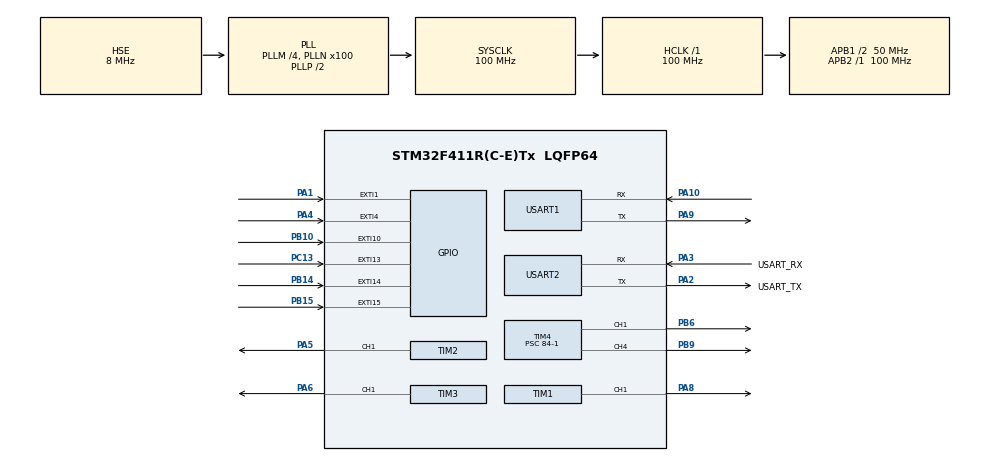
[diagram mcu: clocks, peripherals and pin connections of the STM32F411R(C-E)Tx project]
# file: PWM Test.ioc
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Mcu.Family=STM32F4
Mcu.Name=STM32F411R(C-E)Tx
Mcu.Package=LQFP64
NVIC.EXTI15_10_IRQn=true\:0\:0\:false\:true\:true\:3\:true\:true
NVIC.PriorityGroup=NVIC_PRIORITYGROUP_0
NVIC.TIM1_UP_TIM10_IRQn=true\:0\:0\:false\:true\:true\:2\:true\:true
NVIC.USART1_IRQn=true\:0\:0\:false\:true\:true\:1\:true\:true
PA1.Signal=GPXTI1
PA10.Mode=Asynchronous
PA10.Signal=USART1_RX
PA13.GPIO_Label=TMS
PA13.Mode=Serial_Wire
PA13.Signal=SYS_JTMS-SWDIO
PA14.GPIO_Label=TCK
PA14.Mode=Serial_Wire
PA14.Signal=SYS_JTCK-SWCLK
PA2.GPIO_Label=USART_TX
PA2.Mode=Asynchronous
PA2.Signal=USART2_TX
PA3.GPIO_Label=USART_RX
PA3.Mode=Asynchronous
PA3.Signal=USART2_RX
PA4.Signal=GPXTI4
PA5.Signal=S_TIM2_CH1_ETR
PA6.Signal=S_TIM3_CH1
PA8.Signal=S_TIM1_CH1
PA9.Mode=Asynchronous
PA9.Signal=USART1_TX
PB10.Signal=GPXTI10
PB14.GPIO_ModeDefaultEXTI=GPIO_MODE_IT_RISING
PB14.Signal=GPXTI14
PB15.GPIO_ModeDefaultEXTI=GPIO_MODE_IT_RISING
PB15.Signal=GPXTI15
PB3.GPIO_Label=SWO
PB3.Signal=SYS_JTDO-SWO
PB6.Signal=S_TIM4_CH1
PB9.Signal=S_TIM4_CH4
PC13-ANTI_TAMP.Signal=GPXTI13
PC14-OSC32_IN.Mode=LSE-External-Oscillator
PC14-OSC32_IN.Signal=RCC_OSC32_IN
PC15-OSC32_OUT.Mode=LSE-External-Oscillator
PC15-OSC32_OUT.Signal=RCC_OSC32_OUT
PH0\ -\ OSC_IN.Mode=HSE-External-Clock-Source
PH0\ -\ OSC_IN.Signal=RCC_OSC_IN
PH1\ -\ OSC_OUT.Mode=HSE-External-Clock-Source
PH1\ -\ OSC_OUT.Signal=RCC_OSC_OUT
ProjectManager.HeapSize=0x200
ProjectManager.StackSize=0x400
ProjectManager.TargetToolchain=STM32CubeIDE
RCC.48MHZClocksFreq_Value=50000000
RCC.AHBFreq_Value=100000000
RCC.APB1CLKDivider=RCC_HCLK_DIV2
RCC.APB1Freq_Value=50000000
RCC.APB1TimFreq_Value=100000000
RCC.APB2Freq_Value=100000000
RCC.APB2TimFreq_Value=100000000
RCC.CortexFreq_Value=100000000
RCC.FLatency-AdvancedSettings=FLASH_LATENCY_3
RCC.HCLKFreq_Value=100000000
RCC.HSE_VALUE=8000000
RCC.HSI_VALUE=16000000
RCC.PLLM=4
RCC.PLLN=100
RCC.PLLSourceVirtual=RCC_PLLSOURCE_HSE
RCC.SYSCLKFreq_VALUE=100000000
RCC.SYSCLKSource=RCC_SYSCLKSOURCE_PLLCLK
RCC.VCOOutputFreq_Value=200000000
SH.S_TIM1_CH1.0=TIM1_CH1,PWM Generation1 CH1
SH.S_TIM2_CH1_ETR.0=TIM2_CH1,PWM Generation1 CH1
SH.S_TIM3_CH1.0=TIM3_CH1,PWM Generation1 CH1
SH.S_TIM4_CH1.0=TIM4_CH1,PWM Generation1 CH1
SH.S_TIM4_CH4.0=TIM4_CH4,PWM Generation4 CH4
TIM1.Channel-PWM\ Generation1\ CH1=TIM_CHANNEL_1
TIM1.Period=168-1
TIM1.Prescaler=1000-1
TIM1.Pulse-PWM\ Generation1\ CH1=84
TIM10.Period=8399
TIM10.Prescaler=9999
TIM2.Channel-PWM\ Generation1\ CH1=TIM_CHANNEL_1
TIM2.Period=41999
TIM2.Prescaler=9
TIM2.Pulse-PWM\ Generation1\ CH1=20999
TIM3.Channel-PWM\ Generation1\ CH1=TIM_CHANNEL_1
TIM3.Period=10999
TIM3.Prescaler=336-1
TIM3.Pulse-PWM\ Generation1\ CH1=100
TIM4.Channel-PWM\ Generation1\ CH1=TIM_CHANNEL_1
TIM4.Channel-PWM\ Generation4\ CH4=TIM_CHANNEL_4
TIM4.Period=10000-1
TIM4.Prescaler=84-1
TIM4.Pulse-PWM\ Generation1\ CH1=5000
USART1.VirtualMode=VM_ASYNC
USART2.VirtualMode=VM_ASYNC
VP_TIM10_VS_ClockSourceINT.Mode=Enable_Timer
VP_TIM1_VS_ClockSourceINT.Mode=Internal
VP_TIM2_VS_ClockSourceINT.Mode=Internal
VP_TIM3_VS_ClockSourceINT.Mode=Internal
VP_TIM4_VS_ClockSourceINT.Mode=Internal
board=NUCLEO-F411RE

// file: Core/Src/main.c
/* USER CODE BEGIN Header */
/**
  ******************************************************************************
  * @file           : main.c
  * @brief          : Main program body
  ******************************************************************************
  * @attention
  *
  * <h2><center>&copy; Copyright (c) 2022 STMicroelectronics.
  * All rights reserved.</center></h2>
  *
  * This software component is licensed by ST under BSD 3-Clause license,
  * the "License"; You may not use this file except in compliance with the
  * License. You may obtain a copy of the License at:
  *                        opensource.org/licenses/BSD-3-Clause
  *
  ******************************************************************************
  */
/* USER CODE END Header */
#include "main.h"
#include "tim.h"
#include "usart.h"
#include "gpio.h"

/* USER CODE BEGIN Includes */
#include <stdio.h>
/* USER CODE END Includes */

/* USER CODE BEGIN PV */
uint8_t rx1_data[10];
/* USER CODE END PV */

void SystemClock_Config(void);
static void MX_NVIC_Init(void);

/* USER CODE BEGIN 0 */
int _write(int file, char* p, int len)
{
	HAL_UART_Transmit(&huart1, p, len, 10);
	return len;
}
/* USER CODE END 0 */

int main(void)
{

  /* MCU Configuration--------------------------------------------------------*/

  /* Reset of all peripherals, Initializes the Flash interface and the Systick. */
  HAL_Init();

  /* Configure the system clock */
  SystemClock_Config();

  /* Initialize all configured peripherals */
  MX_GPIO_Init();
  MX_USART2_UART_Init();
  MX_USART1_UART_Init();
  MX_TIM10_Init();
  MX_TIM2_Init();
  MX_TIM4_Init();
  MX_TIM3_Init();
  MX_TIM1_Init();

  /* Initialize interrupts */
  MX_NVIC_Init();
  /* USER CODE BEGIN 2 */
  HAL_TIM_PWM_Start(&htim2, TIM_CHANNEL_1);			// led

  HAL_TIM_PWM_Start(&htim4, TIM_CHANNEL_1);			// dc모터
  HAL_TIM_PWM_Start(&htim4, TIM_CHANNEL_4);

  HAL_TIM_PWM_Start(&htim3, TIM_CHANNEL_1);			// 서보모터

  HAL_TIM_PWM_Start(&htim1, TIM_CHANNEL_1);			// 부저센서

  TIM3->CCR1 = 1500;				// sg90 모터를 끝까지 돌림
//  TIM1->ARR = 500;					// buzer 주파수를 1000hz로 변경
//  TIM1->CCR1 = TIM1->ARR / 2;

  TIM4->CCR1 = 0;					// 5000일시 반시계방향
  TIM4->CCR4 = 5000;				// dc모터 시계방향, 값을 0부터 상승시켜주면 속도가 변함
  /* USER CODE END 2 */

  /* Infinite loop */
  /* USER CODE BEGIN WHILE */
  uint16_t ccr = 0;
  uint16_t arr = 1000;
  uint16_t psc = 1000;
  uint8_t ud_flag = 0;
  while (1)
  {
	  //__HAL_TIM_SET_COMPARE(&htim4, TIM_CHANNEL_1, ccr);	//매크로
//	  TIM2->CCR1 = ccr; 									//위코드와 같은 기능
//	  ccr += 1000;
//	  if(ccr > TIM2->ARR) ccr = 0; 		//ccr 값이 auto reload 값보다 커지면 0으로 초기화;
//	  HAL_Delay(50);
	  if(ud_flag == 0)
	  {
		  psc++;
		  if(psc >= 2500) ud_flag = 1;
	  }
	  else
	  {
		  psc--;
		  if(psc <= 1000) ud_flag = 0;
	  }									//ARR 값을 바꾸면 소리가 나다 멈추는 현상이 있음

	  TIM1->PSC = psc;
//	  TIM1->CCR1 = TIM1->ARR / 2;

	  HAL_Delay(1);
    /* USER CODE END WHILE */

  }
}

void SystemClock_Config(void)
{
  RCC_OscInitTypeDef RCC_OscInitStruct = {0};
  RCC_ClkInitTypeDef RCC_ClkInitStruct = {0};

  /** Configure the main internal regulator output voltage
  */
  __HAL_RCC_PWR_CLK_ENABLE();
  __HAL_PWR_VOLTAGESCALING_CONFIG(PWR_REGULATOR_VOLTAGE_SCALE1);
  /** Initializes the RCC Oscillators according to the specified parameters
  * in the RCC_OscInitTypeDef structure.
  */
  RCC_OscInitStruct.OscillatorType = RCC_OSCILLATORTYPE_HSE;
  RCC_OscInitStruct.HSEState = RCC_HSE_BYPASS;
  RCC_OscInitStruct.PLL.PLLState = RCC_PLL_ON;
  RCC_OscInitStruct.PLL.PLLSource = RCC_PLLSOURCE_HSE;
  RCC_OscInitStruct.PLL.PLLM = 4;
  RCC_OscInitStruct.PLL.PLLN = 100;
  RCC_OscInitStruct.PLL.PLLP = RCC_PLLP_DIV2;
  RCC_OscInitStruct.PLL.PLLQ = 4;
  if (HAL_RCC_OscConfig(&RCC_OscInitStruct) != HAL_OK)
  {
    Error_Handler();
  }
  /** Initializes the CPU, AHB and APB buses clocks
  */
  RCC_ClkInitStruct.ClockType = RCC_CLOCKTYPE_HCLK|RCC_CLOCKTYPE_SYSCLK
                              |RCC_CLOCKTYPE_PCLK1|RCC_CLOCKTYPE_PCLK2;
  RCC_ClkInitStruct.SYSCLKSource = RCC_SYSCLKSOURCE_PLLCLK;
  RCC_ClkInitStruct.AHBCLKDivider = RCC_SYSCLK_DIV1;
  RCC_ClkInitStruct.APB1CLKDivider = RCC_HCLK_DIV2;
  RCC_ClkInitStruct.APB2CLKDivider = RCC_HCLK_DIV1;

  if (HAL_RCC_ClockConfig(&RCC_ClkInitStruct, FLASH_LATENCY_3) != HAL_OK)
  {
    Error_Handler();
  }
}

/**
  * @brief NVIC Configuration.
  * @retval None
  */
static void MX_NVIC_Init(void)
{
  /* USART1_IRQn interrupt configuration */
  HAL_NVIC_SetPriority(USART1_IRQn, 0, 0);
  HAL_NVIC_EnableIRQ(USART1_IRQn);
  /* TIM1_UP_TIM10_IRQn interrupt configuration */
  HAL_NVIC_SetPriority(TIM1_UP_TIM10_IRQn, 0, 0);
  HAL_NVIC_EnableIRQ(TIM1_UP_TIM10_IRQn);
  /* EXTI15_10_IRQn interrupt configuration */
  HAL_NVIC_SetPriority(EXTI15_10_IRQn, 0, 0);
  HAL_NVIC_EnableIRQ(EXTI15_10_IRQn);
}

/* USER CODE BEGIN 4 */
void HAL_UART_RxCpltCallback(UART_HandleTypeDef *huart)
{
	if(huart->Instance == USART1)
	{
		HAL_UART_Receive_IT(&huart1, rx1_data, 10);
		HAL_UART_Transmit(&huart1, rx1_data, 1, 10);
	}
}

void HAL_TIM_PeriodElapsedCallback(TIM_HandleTypeDef *htim)
{
	static unsigned char cnt = 0;
	if(htim->Instance == TIM10)
	{
		cnt++;
	}
}

void HAL_GPIO_EXTI_Callback(uint16_t GPIO_Pin)
{
	if(GPIO_Pin == GPIO_PIN_13)
	{
		HAL_GPIO_TogglePin(GPIOA, GPIO_PIN_5);
	}
}
/* USER CODE END 4 */

void Error_Handler(void)
{
  __disable_irq();
  while (1)
  {
  }
}

/************************ (C) COPYRIGHT STMicroelectronics *****END OF FILE****/
